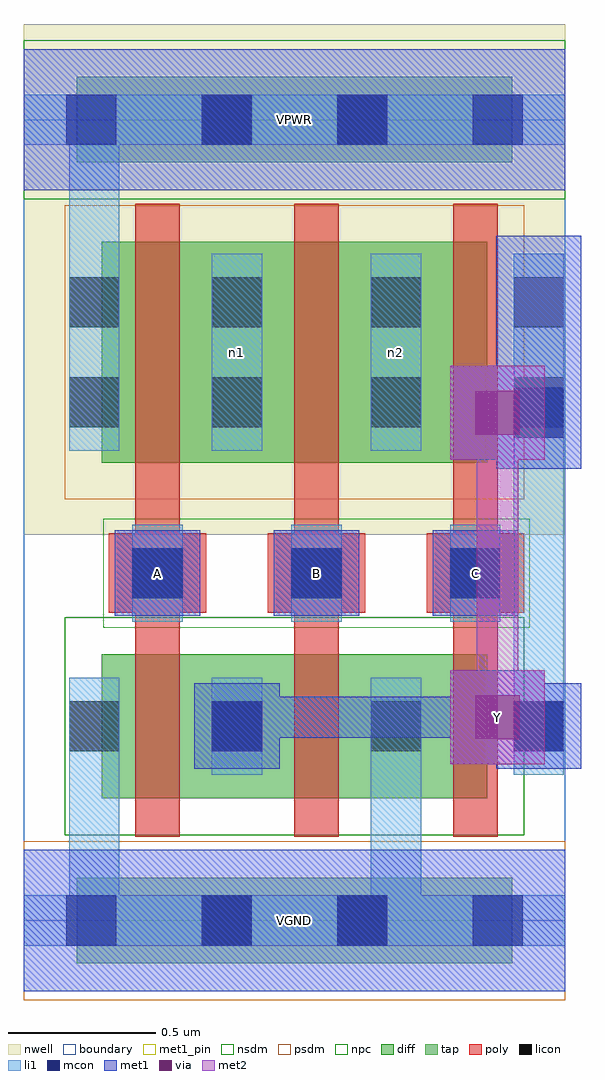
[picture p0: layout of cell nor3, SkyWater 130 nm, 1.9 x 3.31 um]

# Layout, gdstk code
import gdstk
lib = gdstk.Library(unit=1e-6, precision=1e-09)
def R(c, l, rs):  # rectangles x0, y0, x1, y1
    for r in rs: c.add(gdstk.rectangle(r[:2], r[2:], *l))
def A(c, l, x, y, w, h, nx, ny, dx, dy):  # array of equal rectangles
    R(c, l, [(x+i*dx, y+j*dy, x+i*dx+w, y+j*dy+h) for i in range(nx) for j in range(ny)])
nwell = (64, 20)
diff = (65, 20)
tap = (65, 44)
poly = (66, 20)
licon = (66, 44)
li1 = (67, 20)
mcon = (67, 44)
met1_pin = (68, 16)
met1 = (68, 20)
via = (68, 44)
met2 = (69, 20)
nsdm = (93, 44)
psdm = (94, 20)
npc = (95, 20)
boundary = (235, 4)

nor3 = lib.new_cell('nor3')
R(nor3, nwell, [(0,1.31,1.84,3.045)])
R(nor3, diff, [(0.265,0.415,1.575,0.905), (0.265,1.555,1.575,2.305)])
R(nor3, tap, [(0.18,-0.145,1.66,0.145), (0.18,2.575,1.66,2.865)])
A(nor3, poly, 0.38, 0.285, 0.15, 2.15, 3, 1, 0.54, 0)
A(nor3, poly, 0.29, 1.045, 0.33, 0.27, 3, 1, 0.54, 0)
A(nor3, licon, 0.37, 1.095, 0.17, 0.17, 3, 1, 0.54, 0)
R(nor3, licon, [(0.605,-0.085,0.775,0.085), (1.065,-0.085,1.235,0.085), (0.155,0.575,0.325,0.745), (0.64,0.575,0.81,0.745), (1.18,0.575,1.35,0.745), (1.665,0.575,1.835,0.745), (0.155,1.675,0.325,1.845), (0.64,1.675,0.81,1.845), (1.18,1.675,1.35,1.845), (1.665,1.675,1.835,1.845), (0.155,2.015,0.325,2.185), (0.64,2.015,0.81,2.185), (1.18,2.015,1.35,2.185), (1.665,2.015,1.835,2.185), (0.605,2.635,0.775,2.805), (1.065,2.635,1.235,2.805)])
A(nor3, li1, 0.37, 1.015, 0.17, 0.33, 3, 1, 0.54, 0)
R(nor3, li1, [(0,-0.085,1.84,0.085), (0.155,-0.085,0.325,0.825), (1.18,-0.085,1.35,0.825), (0.155,0.495,0.325,0.825), (0.64,0.495,0.81,0.825), (1.18,0.495,1.35,0.825), (1.665,0.495,1.835,0.825), (1.665,0.495,1.835,2.265), (0.155,1.595,0.325,2.265), (0.155,1.595,0.325,2.805), (0.64,1.595,0.81,2.265), (1.18,1.595,1.35,2.265), (1.665,1.595,1.835,2.265), (0,2.635,1.84,2.805)])
A(nor3, mcon, 0.145, -0.085, 0.17, 0.17, 4, 2, 0.46, 2.72)
A(nor3, mcon, 0.37, 1.095, 0.17, 0.17, 3, 1, 0.54, 0)
R(nor3, mcon, [(0.64,0.575,0.81,0.745), (1.665,0.575,1.835,0.745), (1.665,1.64,1.835,1.81)])
A(nor3, met1_pin, 0.31, 1.035, 0.29, 0.29, 3, 1, 0.54, 0)
R(nor3, met1_pin, [(0,-0.24,1.84,0.24), (1.45,0.53,1.77,0.85), (0,2.48,1.84,2.96)])
A(nor3, met1, 0.31, 1.035, 0.29, 0.29, 3, 1, 0.54, 0)
R(nor3, met1, [(0,-0.24,1.84,0.24), (0.58,0.515,0.87,0.805), (1.605,0.515,1.895,0.805), (1.45,0.53,1.77,0.85), (0.62,0.62,0.76,0.76), (0.62,0.62,1.795,0.76), (1.655,0.62,1.795,0.76), (1.605,1.535,1.895,2.325), (1.45,1.565,1.77,1.885), (1.605,1.58,1.895,1.87), (1.54,1.655,1.82,1.795), (1.54,1.655,1.795,1.795), (1.655,1.655,1.795,1.795), (0,2.48,1.84,2.96)])
R(nor3, via, [(1.535,0.615,1.685,0.765), (1.535,1.65,1.685,1.8)])
R(nor3, met2, [(1.45,0.53,1.77,0.85), (1.54,0.62,1.68,1.795), (1.45,1.565,1.77,1.885)])
R(nor3, nsdm, [(0.14,0.29,1.7,1.03), (0,2.45,1.84,2.99)])
R(nor3, psdm, [(0,-0.27,1.84,0.27), (0.14,1.43,1.7,2.43)])
R(nor3, npc, [(0.27,0.995,1.72,1.365)])
R(nor3, boundary, [(0,0,1.84,2.72)])
nor3.add(gdstk.Label('n1', (0.725,1.93), layer=67, texttype=5))
nor3.add(gdstk.Label('n2', (1.265,1.93), layer=67, texttype=5))
nor3.add(gdstk.Label('A', (0.455,1.18), layer=68, texttype=5))
nor3.add(gdstk.Label('B', (0.995,1.18), layer=68, texttype=5))
nor3.add(gdstk.Label('C', (1.535,1.18), layer=68, texttype=5))
nor3.add(gdstk.Label('Y', (1.61,0.69), layer=68, texttype=5))
nor3.add(gdstk.Label('VPWR', (0.92,2.72), layer=68, texttype=5))
nor3.add(gdstk.Label('VGND', (0.92,0), layer=68, texttype=5))
nor3.add(gdstk.Label('A', (0.455,1.18), layer=68, texttype=16))
nor3.add(gdstk.Label('B', (0.995,1.18), layer=68, texttype=16))
nor3.add(gdstk.Label('C', (1.535,1.18), layer=68, texttype=16))
nor3.add(gdstk.Label('Y', (1.61,0.69), layer=68, texttype=16))
nor3.add(gdstk.Label('VPWR', (0.92,2.72), layer=68, texttype=16))
nor3.add(gdstk.Label('VGND', (0.92,0), layer=68, texttype=16))

lib.write_gds('nor3.gds')
